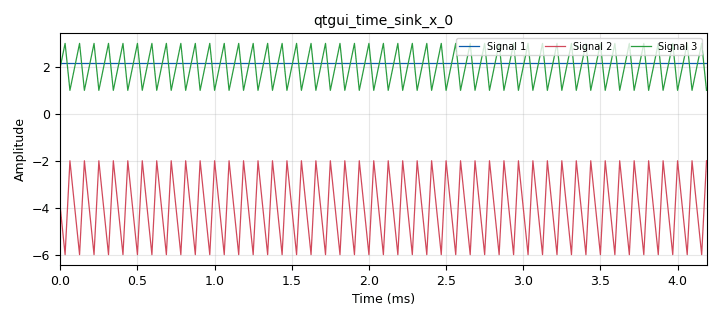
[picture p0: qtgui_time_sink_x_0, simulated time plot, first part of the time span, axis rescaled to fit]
options:
  parameters:
    author: JUAN_TATIANA_WILLIAM
    generate_options: qt_gui
    id: Media_cuadratica
    output_language: python
    title: Media_cuadratica
  states: {}

blocks:
- name: samp_rate
  id: variable
  parameters:
    value: '32000'
  states: {}
- name: blocks_throttle_0
  id: blocks_throttle
  parameters:
    samples_per_second: samp_rate
    type: float
  states: {}
- name: blocks_vector_source_x_0
  id: blocks_vector_source_x
  parameters:
    repeat: 'True'
    type: float
    vector: (1, 2,3)
  states: {}
- name: epy_block_0
  id: epy_block
  parameters:
    _source_code: |
      """
      Embedded Python Blocks:

      Each time this file is saved, GRC will instantiate the first class it finds
      to get ports and parameters of your block. The arguments to __init__  will
      be the parameters. All of them are required to have default values!
      """

      import numpy as np
      from gnuradio import gr


      class blk(gr.sync_block):  # other base classes are basic_block, decim_block, interp_block
          """Embedded Python Block example - a simple multiply const"""

          def __init__(self):  # only default arguments here
              """arguments to this function show up as parameters in GRC"""
              gr.sync_block.__init__(
                  self,
                  name="bloque media cuadratica",  # will show up in GRC
                  in_sig=[np.float32],
                  out_sig=[np.float32]
              )

          def work(self, input_items, output_items):
              x = input_items[0]**2
              y = output_items[0]
              
              y[:] = np.sqrt(np.mean(x))
              return len(y)
  states: {}
- name: epy_block_1
  id: epy_block
  parameters:
    _source_code: |
      """
      Embedded Python Blocks:

      Each time this file is saved, GRC will instantiate the first class it finds
      to get ports and parameters of your block. The arguments to __init__  will
      be the parameters. All of them are required to have default values!
      """

      import numpy as np
      from gnuradio import gr


      class blk(gr.sync_block):  # other base classes are basic_block, decim_block, interp_block
          """Embedded Python Block example - a simple multiply const"""

          def __init__(self, example_param=1.0):  # only default arguments here
              """arguments to this function show up as parameters in GRC"""
              gr.sync_block.__init__(
                  self,
                  name='e_multiply',   # will show up in GRC
                  in_sig=[np.float32],
                  out_sig=[np.float32]
              )
              # if an attribute with the same name as a parameter is found,
              # a callback is registered (properties work, too).
              self.example_param = example_param

          def work(self, input_items, output_items):
              """example: multiply with constant"""
              x=input_items[0]
              y=output_items[0]
              y[:] = x * self.example_param
              return len(y)
    example_param: '-2'
  states: {}
- name: qtgui_time_sink_x_0
  id: qtgui_time_sink_x
  parameters:
    nconnections: '3'
    size: '1024'
    srate: samp_rate
    tr_mode: qtgui.TRIG_MODE_AUTO
    type: float
  states: {}

connections:
- [blocks_throttle_0, '0', epy_block_0, '0']
- [blocks_throttle_0, '0', epy_block_1, '0']
- [blocks_throttle_0, '0', qtgui_time_sink_x_0, '2']
- [blocks_vector_source_x_0, '0', blocks_throttle_0, '0']
- [epy_block_0, '0', qtgui_time_sink_x_0, '0']
- [epy_block_1, '0', qtgui_time_sink_x_0, '1']

metadata:
  file_format: 1
  grc_version: 3.9.8.0
